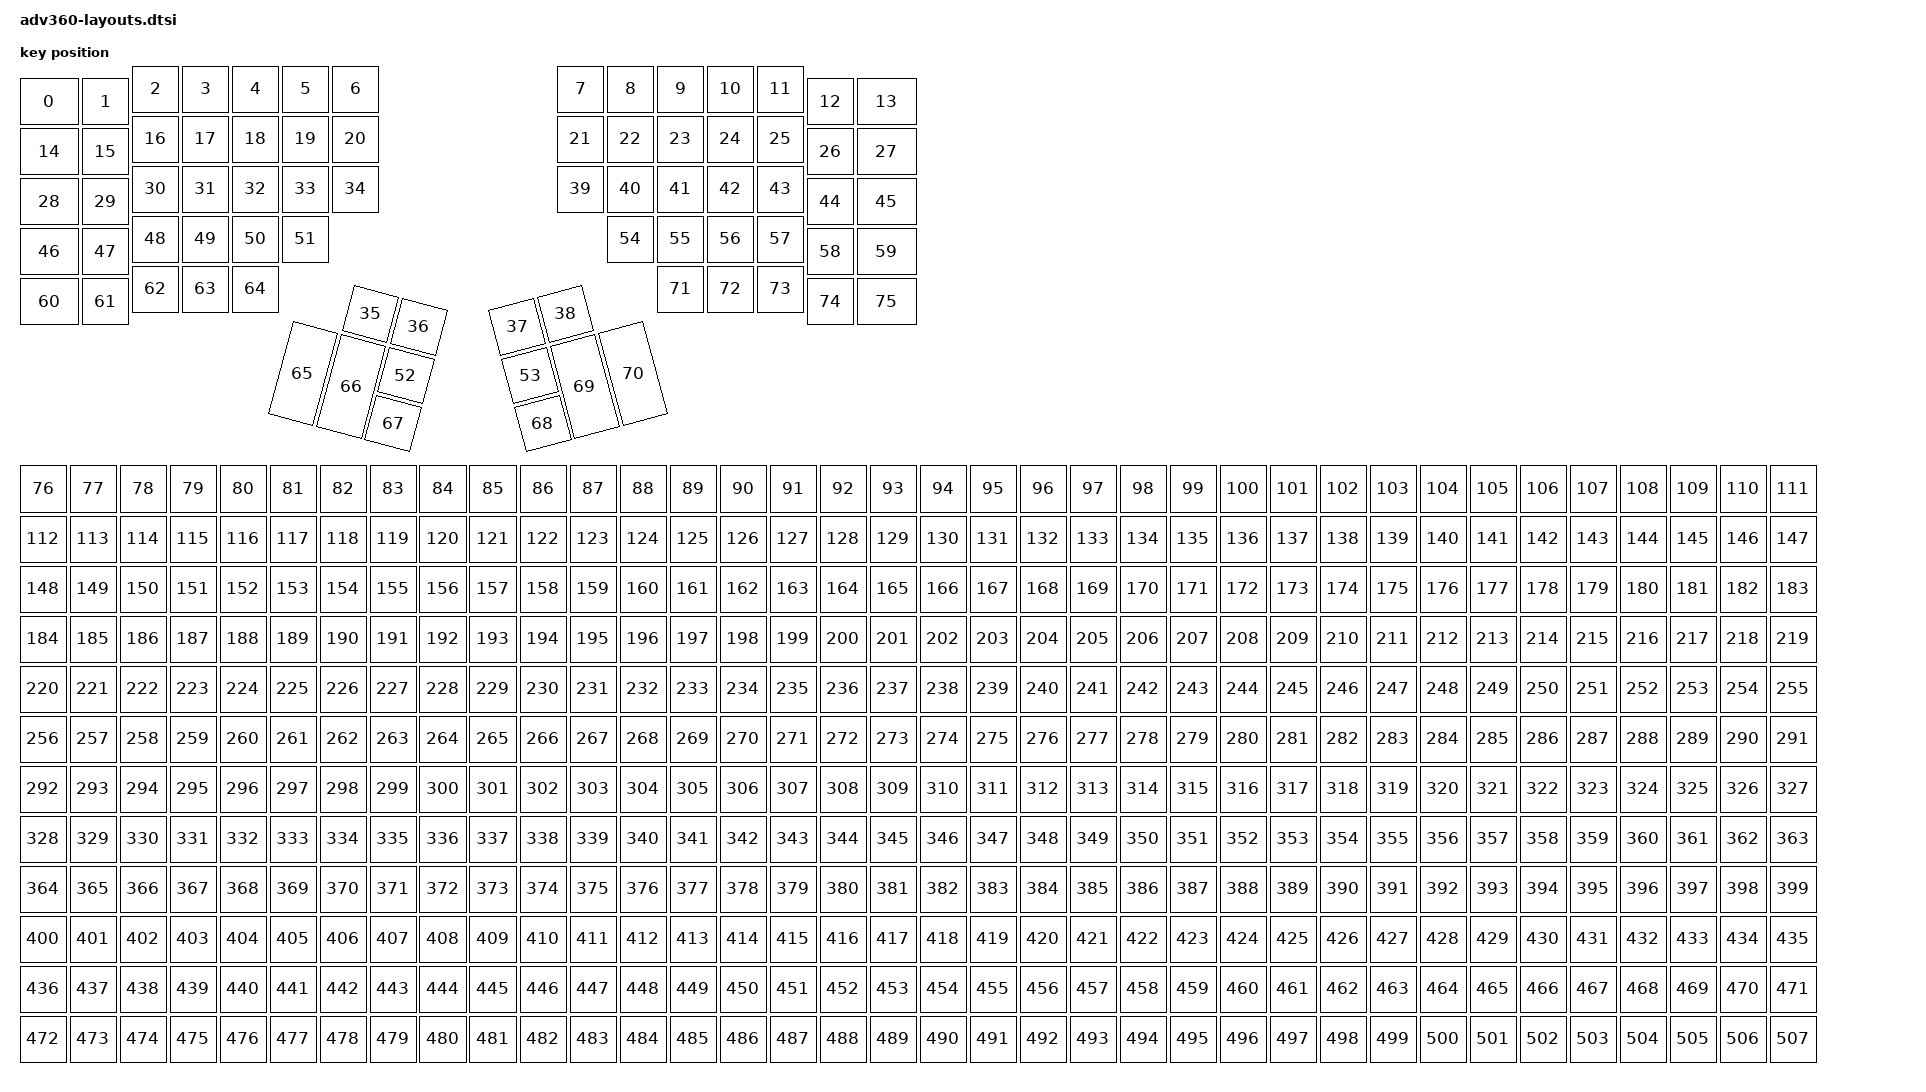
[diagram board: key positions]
#include <physical_layouts.dtsi>

/ {
    physical_layout0: physical_layout_0 {
        compatible = "zmk,physical-layout";
        display-name = "Default";

        keys  //                     w   h    x    y     rot    rx    ry
            = <&key_physical_attrs 125 100    0   25       0     0     0>
            , <&key_physical_attrs 100 100  125   25       0     0     0>
            , <&key_physical_attrs 100 100  225    0       0     0     0>
            , <&key_physical_attrs 100 100  325    0       0     0     0>
            , <&key_physical_attrs 100 100  425    0       0     0     0>
            , <&key_physical_attrs 100 100  525    0       0     0     0>
            , <&key_physical_attrs 100 100  625    0       0     0     0>
            , <&key_physical_attrs 100 100 1075    0       0     0     0>
            , <&key_physical_attrs 100 100 1175    0       0     0     0>
            , <&key_physical_attrs 100 100 1275    0       0     0     0>
            , <&key_physical_attrs 100 100 1375    0       0     0     0>
            , <&key_physical_attrs 100 100 1475    0       0     0     0>
            , <&key_physical_attrs 100 100 1575   25       0     0     0>
            , <&key_physical_attrs 125 100 1675   25       0     0     0>
            , <&key_physical_attrs 125 100    0  125       0     0     0>
            , <&key_physical_attrs 100 100  125  125       0     0     0>
            , <&key_physical_attrs 100 100  225  100       0     0     0>
            , <&key_physical_attrs 100 100  325  100       0     0     0>
            , <&key_physical_attrs 100 100  425  100       0     0     0>
            , <&key_physical_attrs 100 100  525  100       0     0     0>
            , <&key_physical_attrs 100 100  625  100       0     0     0>
            , <&key_physical_attrs 100 100 1075  100       0     0     0>
            , <&key_physical_attrs 100 100 1175  100       0     0     0>
            , <&key_physical_attrs 100 100 1275  100       0     0     0>
            , <&key_physical_attrs 100 100 1375  100       0     0     0>
            , <&key_physical_attrs 100 100 1475  100       0     0     0>
            , <&key_physical_attrs 100 100 1575  125       0     0     0>
            , <&key_physical_attrs 125 100 1675  125       0     0     0>
            , <&key_physical_attrs 125 100    0  225       0     0     0>
            , <&key_physical_attrs 100 100  125  225       0     0     0>
            , <&key_physical_attrs 100 100  225  200       0     0     0>
            , <&key_physical_attrs 100 100  325  200       0     0     0>
            , <&key_physical_attrs 100 100  425  200       0     0     0>
            , <&key_physical_attrs 100 100  525  200       0     0     0>
            , <&key_physical_attrs 100 100  625  200       0     0     0>
            , <&key_physical_attrs 100 100  675  400    1500   525   400>
            , <&key_physical_attrs 100 100  775  400    1500   525   400>
            , <&key_physical_attrs 100 100  925  400 (-1500)  1275   400>
            , <&key_physical_attrs 100 100 1025  400 (-1500)  1275   400>
            , <&key_physical_attrs 100 100 1075  200       0     0     0>
            , <&key_physical_attrs 100 100 1175  200       0     0     0>
            , <&key_physical_attrs 100 100 1275  200       0     0     0>
            , <&key_physical_attrs 100 100 1375  200       0     0     0>
            , <&key_physical_attrs 100 100 1475  200       0     0     0>
            , <&key_physical_attrs 100 100 1575  225       0     0     0>
            , <&key_physical_attrs 125 100 1675  225       0     0     0>
            , <&key_physical_attrs 125 100    0  325       0     0     0>
            , <&key_physical_attrs 100 100  125  325       0     0     0>
            , <&key_physical_attrs 100 100  225  300       0     0     0>
            , <&key_physical_attrs 100 100  325  300       0     0     0>
            , <&key_physical_attrs 100 100  425  300       0     0     0>
            , <&key_physical_attrs 100 100  525  300       0     0     0>
            , <&key_physical_attrs 100 100  775  500    1500   525   400>
            , <&key_physical_attrs 100 100  925  500 (-1500)  1275   400>
            , <&key_physical_attrs 100 100 1175  300       0     0     0>
            , <&key_physical_attrs 100 100 1275  300       0     0     0>
            , <&key_physical_attrs 100 100 1375  300       0     0     0>
            , <&key_physical_attrs 100 100 1475  300       0     0     0>
            , <&key_physical_attrs 100 100 1575  325       0     0     0>
            , <&key_physical_attrs 125 100 1675  325       0     0     0>
            , <&key_physical_attrs 125 100    0  425       0     0     0>
            , <&key_physical_attrs 100 100  125  425       0     0     0>
            , <&key_physical_attrs 100 100  225  400       0     0     0>
            , <&key_physical_attrs 100 100  325  400       0     0     0>
            , <&key_physical_attrs 100 100  425  400       0     0     0>
            , <&key_physical_attrs 100 200  575  500    1500   525   400>
            , <&key_physical_attrs 100 200  675  500    1500   525   400>
            , <&key_physical_attrs 100 100  775  600    1500   525   400>
            , <&key_physical_attrs 100 100  925  600 (-1500)  1275   400>
            , <&key_physical_attrs 100 200 1025  500 (-1500)  1275   400>
            , <&key_physical_attrs 100 200 1125  500 (-1500)  1275   400>
            , <&key_physical_attrs 100 100 1275  400       0     0     0>
            , <&key_physical_attrs 100 100 1375  400       0     0     0>
            , <&key_physical_attrs 100 100 1475  400       0     0     0>
            , <&key_physical_attrs 100 100 1575  425       0     0     0>
            , <&key_physical_attrs 125 100 1675  425       0     0     0>

, <&key_physical_attrs 100 100 0  800       0     0     0>
      , <&key_physical_attrs 100 100 100  800       0     0     0>
      , <&key_physical_attrs 100 100 200  800       0     0     0>
      , <&key_physical_attrs 100 100 300  800       0     0     0>
      , <&key_physical_attrs 100 100 400  800       0     0     0>
      , <&key_physical_attrs 100 100 500  800       0     0     0>
      , <&key_physical_attrs 100 100 600  800       0     0     0>
      , <&key_physical_attrs 100 100 700  800       0     0     0>
      , <&key_physical_attrs 100 100 800  800       0     0     0>
      , <&key_physical_attrs 100 100 900  800       0     0     0>
      , <&key_physical_attrs 100 100 1000  800       0     0     0>
      , <&key_physical_attrs 100 100 1100  800       0     0     0>
      , <&key_physical_attrs 100 100 1200  800       0     0     0>
      , <&key_physical_attrs 100 100 1300  800       0     0     0>
      , <&key_physical_attrs 100 100 1400  800       0     0     0>
      , <&key_physical_attrs 100 100 1500  800       0     0     0>
      , <&key_physical_attrs 100 100 1600  800       0     0     0>
      , <&key_physical_attrs 100 100 1700  800       0     0     0>
      , <&key_physical_attrs 100 100 1800  800       0     0     0>
      , <&key_physical_attrs 100 100 1900  800       0     0     0>
      , <&key_physical_attrs 100 100 2000  800       0     0     0>
      , <&key_physical_attrs 100 100 2100  800       0     0     0>
      , <&key_physical_attrs 100 100 2200  800       0     0     0>
      , <&key_physical_attrs 100 100 2300  800       0     0     0>
      , <&key_physical_attrs 100 100 2400  800       0     0     0>
      , <&key_physical_attrs 100 100 2500  800       0     0     0>
      , <&key_physical_attrs 100 100 2600  800       0     0     0>
      , <&key_physical_attrs 100 100 2700  800       0     0     0>
      , <&key_physical_attrs 100 100 2800  800       0     0     0>
      , <&key_physical_attrs 100 100 2900  800       0     0     0>
      , <&key_physical_attrs 100 100 3000  800       0     0     0>
      , <&key_physical_attrs 100 100 3100  800       0     0     0>
      , <&key_physical_attrs 100 100 3200  800       0     0     0>
      , <&key_physical_attrs 100 100 3300  800       0     0     0>
      , <&key_physical_attrs 100 100 3400  800       0     0     0>
      , <&key_physical_attrs 100 100 3500  800       0     0     0>
      , <&key_physical_attrs 100 100 0  900       0     0     0>
      , <&key_physical_attrs 100 100 100  900       0     0     0>
      , <&key_physical_attrs 100 100 200  900       0     0     0>
      , <&key_physical_attrs 100 100 300  900       0     0     0>
      , <&key_physical_attrs 100 100 400  900       0     0     0>
      , <&key_physical_attrs 100 100 500  900       0     0     0>
      , <&key_physical_attrs 100 100 600  900       0     0     0>
      , <&key_physical_attrs 100 100 700  900       0     0     0>
      , <&key_physical_attrs 100 100 800  900       0     0     0>
      , <&key_physical_attrs 100 100 900  900       0     0     0>
      , <&key_physical_attrs 100 100 1000  900       0     0     0>
      , <&key_physical_attrs 100 100 1100  900       0     0     0>
      , <&key_physical_attrs 100 100 1200  900       0     0     0>
      , <&key_physical_attrs 100 100 1300  900       0     0     0>
      , <&key_physical_attrs 100 100 1400  900       0     0     0>
      , <&key_physical_attrs 100 100 1500  900       0     0     0>
      , <&key_physical_attrs 100 100 1600  900       0     0     0>
      , <&key_physical_attrs 100 100 1700  900       0     0     0>
      , <&key_physical_attrs 100 100 1800  900       0     0     0>
      , <&key_physical_attrs 100 100 1900  900       0     0     0>
      , <&key_physical_attrs 100 100 2000  900       0     0     0>
      , <&key_physical_attrs 100 100 2100  900       0     0     0>
      , <&key_physical_attrs 100 100 2200  900       0     0     0>
      , <&key_physical_attrs 100 100 2300  900       0     0     0>
      , <&key_physical_attrs 100 100 2400  900       0     0     0>
      , <&key_physical_attrs 100 100 2500  900       0     0     0>
      , <&key_physical_attrs 100 100 2600  900       0     0     0>
      , <&key_physical_attrs 100 100 2700  900       0     0     0>
      , <&key_physical_attrs 100 100 2800  900       0     0     0>
      , <&key_physical_attrs 100 100 2900  900       0     0     0>
      , <&key_physical_attrs 100 100 3000  900       0     0     0>
      , <&key_physical_attrs 100 100 3100  900       0     0     0>
      , <&key_physical_attrs 100 100 3200  900       0     0     0>
      , <&key_physical_attrs 100 100 3300  900       0     0     0>
      , <&key_physical_attrs 100 100 3400  900       0     0     0>
      , <&key_physical_attrs 100 100 3500  900       0     0     0>
      , <&key_physical_attrs 100 100 0  1000       0     0     0>
      , <&key_physical_attrs 100 100 100  1000       0     0     0>
      , <&key_physical_attrs 100 100 200  1000       0     0     0>
      , <&key_physical_attrs 100 100 300  1000       0     0     0>
      , <&key_physical_attrs 100 100 400  1000       0     0     0>
      , <&key_physical_attrs 100 100 500  1000       0     0     0>
      , <&key_physical_attrs 100 100 600  1000       0     0     0>
      , <&key_physical_attrs 100 100 700  1000       0     0     0>
      , <&key_physical_attrs 100 100 800  1000       0     0     0>
      , <&key_physical_attrs 100 100 900  1000       0     0     0>
      , <&key_physical_attrs 100 100 1000  1000       0     0     0>
      , <&key_physical_attrs 100 100 1100  1000       0     0     0>
      , <&key_physical_attrs 100 100 1200  1000       0     0     0>
      , <&key_physical_attrs 100 100 1300  1000       0     0     0>
      , <&key_physical_attrs 100 100 1400  1000       0     0     0>
      , <&key_physical_attrs 100 100 1500  1000       0     0     0>
      , <&key_physical_attrs 100 100 1600  1000       0     0     0>
      , <&key_physical_attrs 100 100 1700  1000       0     0     0>
      , <&key_physical_attrs 100 100 1800  1000       0     0     0>
      , <&key_physical_attrs 100 100 1900  1000       0     0     0>
      , <&key_physical_attrs 100 100 2000  1000       0     0     0>
      , <&key_physical_attrs 100 100 2100  1000       0     0     0>
      , <&key_physical_attrs 100 100 2200  1000       0     0     0>
      , <&key_physical_attrs 100 100 2300  1000       0     0     0>
      , <&key_physical_attrs 100 100 2400  1000       0     0     0>
      , <&key_physical_attrs 100 100 2500  1000       0     0     0>
      , <&key_physical_attrs 100 100 2600  1000       0     0     0>
      , <&key_physical_attrs 100 100 2700  1000       0     0     0>
      , <&key_physical_attrs 100 100 2800  1000       0     0     0>
      , <&key_physical_attrs 100 100 2900  1000       0     0     0>
      , <&key_physical_attrs 100 100 3000  1000       0     0     0>
      , <&key_physical_attrs 100 100 3100  1000       0     0     0>
      , <&key_physical_attrs 100 100 3200  1000       0     0     0>
      , <&key_physical_attrs 100 100 3300  1000       0     0     0>
      , <&key_physical_attrs 100 100 3400  1000       0     0     0>
      , <&key_physical_attrs 100 100 3500  1000       0     0     0>
      , <&key_physical_attrs 100 100 0  1100       0     0     0>
      , <&key_physical_attrs 100 100 100  1100       0     0     0>
      , <&key_physical_attrs 100 100 200  1100       0     0     0>
      , <&key_physical_attrs 100 100 300  1100       0     0     0>
      , <&key_physical_attrs 100 100 400  1100       0     0     0>
      , <&key_physical_attrs 100 100 500  1100       0     0     0>
      , <&key_physical_attrs 100 100 600  1100       0     0     0>
      , <&key_physical_attrs 100 100 700  1100       0     0     0>
      , <&key_physical_attrs 100 100 800  1100       0     0     0>
      , <&key_physical_attrs 100 100 900  1100       0     0     0>
      , <&key_physical_attrs 100 100 1000  1100       0     0     0>
      , <&key_physical_attrs 100 100 1100  1100       0     0     0>
      , <&key_physical_attrs 100 100 1200  1100       0     0     0>
      , <&key_physical_attrs 100 100 1300  1100       0     0     0>
      , <&key_physical_attrs 100 100 1400  1100       0     0     0>
      , <&key_physical_attrs 100 100 1500  1100       0     0     0>
      , <&key_physical_attrs 100 100 1600  1100       0     0     0>
      , <&key_physical_attrs 100 100 1700  1100       0     0     0>
      , <&key_physical_attrs 100 100 1800  1100       0     0     0>
      , <&key_physical_attrs 100 100 1900  1100       0     0     0>
      , <&key_physical_attrs 100 100 2000  1100       0     0     0>
      , <&key_physical_attrs 100 100 2100  1100       0     0     0>
      , <&key_physical_attrs 100 100 2200  1100       0     0     0>
      , <&key_physical_attrs 100 100 2300  1100       0     0     0>
      , <&key_physical_attrs 100 100 2400  1100       0     0     0>
      , <&key_physical_attrs 100 100 2500  1100       0     0     0>
      , <&key_physical_attrs 100 100 2600  1100       0     0     0>
      , <&key_physical_attrs 100 100 2700  1100       0     0     0>
      , <&key_physical_attrs 100 100 2800  1100       0     0     0>
      , <&key_physical_attrs 100 100 2900  1100       0     0     0>
      , <&key_physical_attrs 100 100 3000  1100       0     0     0>
      , <&key_physical_attrs 100 100 3100  1100       0     0     0>
      , <&key_physical_attrs 100 100 3200  1100       0     0     0>
      , <&key_physical_attrs 100 100 3300  1100       0     0     0>
      , <&key_physical_attrs 100 100 3400  1100       0     0     0>
      , <&key_physical_attrs 100 100 3500  1100       0     0     0>
      , <&key_physical_attrs 100 100 0  1200       0     0     0>
      , <&key_physical_attrs 100 100 100  1200       0     0     0>
      , <&key_physical_attrs 100 100 200  1200       0     0     0>
      , <&key_physical_attrs 100 100 300  1200       0     0     0>
      , <&key_physical_attrs 100 100 400  1200       0     0     0>
      , <&key_physical_attrs 100 100 500  1200       0     0     0>
      , <&key_physical_attrs 100 100 600  1200       0     0     0>
      , <&key_physical_attrs 100 100 700  1200       0     0     0>
      , <&key_physical_attrs 100 100 800  1200       0     0     0>
      , <&key_physical_attrs 100 100 900  1200       0     0     0>
      , <&key_physical_attrs 100 100 1000  1200       0     0     0>
      , <&key_physical_attrs 100 100 1100  1200       0     0     0>
      , <&key_physical_attrs 100 100 1200  1200       0     0     0>
      , <&key_physical_attrs 100 100 1300  1200       0     0     0>
      , <&key_physical_attrs 100 100 1400  1200       0     0     0>
      , <&key_physical_attrs 100 100 1500  1200       0     0     0>
      , <&key_physical_attrs 100 100 1600  1200       0     0     0>
      , <&key_physical_attrs 100 100 1700  1200       0     0     0>
      , <&key_physical_attrs 100 100 1800  1200       0     0     0>
      , <&key_physical_attrs 100 100 1900  1200       0     0     0>
      , <&key_physical_attrs 100 100 2000  1200       0     0     0>
      , <&key_physical_attrs 100 100 2100  1200       0     0     0>
      , <&key_physical_attrs 100 100 2200  1200       0     0     0>
      , <&key_physical_attrs 100 100 2300  1200       0     0     0>
      , <&key_physical_attrs 100 100 2400  1200       0     0     0>
      , <&key_physical_attrs 100 100 2500  1200       0     0     0>
      , <&key_physical_attrs 100 100 2600  1200       0     0     0>
      , <&key_physical_attrs 100 100 2700  1200       0     0     0>
      , <&key_physical_attrs 100 100 2800  1200       0     0     0>
      , <&key_physical_attrs 100 100 2900  1200       0     0     0>
      , <&key_physical_attrs 100 100 3000  1200       0     0     0>
      , <&key_physical_attrs 100 100 3100  1200       0     0     0>
      , <&key_physical_attrs 100 100 3200  1200       0     0     0>
      , <&key_physical_attrs 100 100 3300  1200       0     0     0>
      , <&key_physical_attrs 100 100 3400  1200       0     0     0>
      , <&key_physical_attrs 100 100 3500  1200       0     0     0>
      , <&key_physical_attrs 100 100 0  1300       0     0     0>
      , <&key_physical_attrs 100 100 100  1300       0     0     0>
      , <&key_physical_attrs 100 100 200  1300       0     0     0>
      , <&key_physical_attrs 100 100 300  1300       0     0     0>
      , <&key_physical_attrs 100 100 400  1300       0     0     0>
      , <&key_physical_attrs 100 100 500  1300       0     0     0>
      , <&key_physical_attrs 100 100 600  1300       0     0     0>
      , <&key_physical_attrs 100 100 700  1300       0     0     0>
      , <&key_physical_attrs 100 100 800  1300       0     0     0>
      , <&key_physical_attrs 100 100 900  1300       0     0     0>
      , <&key_physical_attrs 100 100 1000  1300       0     0     0>
      , <&key_physical_attrs 100 100 1100  1300       0     0     0>
      , <&key_physical_attrs 100 100 1200  1300       0     0     0>
      , <&key_physical_attrs 100 100 1300  1300       0     0     0>
      , <&key_physical_attrs 100 100 1400  1300       0     0     0>
      , <&key_physical_attrs 100 100 1500  1300       0     0     0>
      , <&key_physical_attrs 100 100 1600  1300       0     0     0>
      , <&key_physical_attrs 100 100 1700  1300       0     0     0>
      , <&key_physical_attrs 100 100 1800  1300       0     0     0>
      , <&key_physical_attrs 100 100 1900  1300       0     0     0>
      , <&key_physical_attrs 100 100 2000  1300       0     0     0>
      , <&key_physical_attrs 100 100 2100  1300       0     0     0>
      , <&key_physical_attrs 100 100 2200  1300       0     0     0>
      , <&key_physical_attrs 100 100 2300  1300       0     0     0>
      , <&key_physical_attrs 100 100 2400  1300       0     0     0>
      , <&key_physical_attrs 100 100 2500  1300       0     0     0>
      , <&key_physical_attrs 100 100 2600  1300       0     0     0>
      , <&key_physical_attrs 100 100 2700  1300       0     0     0>
      , <&key_physical_attrs 100 100 2800  1300       0     0     0>
      , <&key_physical_attrs 100 100 2900  1300       0     0     0>
      , <&key_physical_attrs 100 100 3000  1300       0     0     0>
      , <&key_physical_attrs 100 100 3100  1300       0     0     0>
      , <&key_physical_attrs 100 100 3200  1300       0     0     0>
      , <&key_physical_attrs 100 100 3300  1300       0     0     0>
      , <&key_physical_attrs 100 100 3400  1300       0     0     0>
      , <&key_physical_attrs 100 100 3500  1300       0     0     0>
      , <&key_physical_attrs 100 100 0  1400       0     0     0>
      , <&key_physical_attrs 100 100 100  1400       0     0     0>
      , <&key_physical_attrs 100 100 200  1400       0     0     0>
      , <&key_physical_attrs 100 100 300  1400       0     0     0>
      , <&key_physical_attrs 100 100 400  1400       0     0     0>
      , <&key_physical_attrs 100 100 500  1400       0     0     0>
      , <&key_physical_attrs 100 100 600  1400       0     0     0>
      , <&key_physical_attrs 100 100 700  1400       0     0     0>
      , <&key_physical_attrs 100 100 800  1400       0     0     0>
      , <&key_physical_attrs 100 100 900  1400       0     0     0>
      , <&key_physical_attrs 100 100 1000  1400       0     0     0>
      , <&key_physical_attrs 100 100 1100  1400       0     0     0>
      , <&key_physical_attrs 100 100 1200  1400       0     0     0>
      , <&key_physical_attrs 100 100 1300  1400       0     0     0>
      , <&key_physical_attrs 100 100 1400  1400       0     0     0>
      , <&key_physical_attrs 100 100 1500  1400       0     0     0>
      , <&key_physical_attrs 100 100 1600  1400       0     0     0>
      , <&key_physical_attrs 100 100 1700  1400       0     0     0>
      , <&key_physical_attrs 100 100 1800  1400       0     0     0>
      , <&key_physical_attrs 100 100 1900  1400       0     0     0>
      , <&key_physical_attrs 100 100 2000  1400       0     0     0>
      , <&key_physical_attrs 100 100 2100  1400       0     0     0>
      , <&key_physical_attrs 100 100 2200  1400       0     0     0>
      , <&key_physical_attrs 100 100 2300  1400       0     0     0>
      , <&key_physical_attrs 100 100 2400  1400       0     0     0>
      , <&key_physical_attrs 100 100 2500  1400       0     0     0>
      , <&key_physical_attrs 100 100 2600  1400       0     0     0>
      , <&key_physical_attrs 100 100 2700  1400       0     0     0>
      , <&key_physical_attrs 100 100 2800  1400       0     0     0>
      , <&key_physical_attrs 100 100 2900  1400       0     0     0>
      , <&key_physical_attrs 100 100 3000  1400       0     0     0>
      , <&key_physical_attrs 100 100 3100  1400       0     0     0>
      , <&key_physical_attrs 100 100 3200  1400       0     0     0>
      , <&key_physical_attrs 100 100 3300  1400       0     0     0>
      , <&key_physical_attrs 100 100 3400  1400       0     0     0>
      , <&key_physical_attrs 100 100 3500  1400       0     0     0>
      , <&key_physical_attrs 100 100 0  1500       0     0     0>
      , <&key_physical_attrs 100 100 100  1500       0     0     0>
      , <&key_physical_attrs 100 100 200  1500       0     0     0>
      , <&key_physical_attrs 100 100 300  1500       0     0     0>
      , <&key_physical_attrs 100 100 400  1500       0     0     0>
      , <&key_physical_attrs 100 100 500  1500       0     0     0>
      , <&key_physical_attrs 100 100 600  1500       0     0     0>
      , <&key_physical_attrs 100 100 700  1500       0     0     0>
      , <&key_physical_attrs 100 100 800  1500       0     0     0>
      , <&key_physical_attrs 100 100 900  1500       0     0     0>
      , <&key_physical_attrs 100 100 1000  1500       0     0     0>
      , <&key_physical_attrs 100 100 1100  1500       0     0     0>
      , <&key_physical_attrs 100 100 1200  1500       0     0     0>
      , <&key_physical_attrs 100 100 1300  1500       0     0     0>
      , <&key_physical_attrs 100 100 1400  1500       0     0     0>
      , <&key_physical_attrs 100 100 1500  1500       0     0     0>
      , <&key_physical_attrs 100 100 1600  1500       0     0     0>
      , <&key_physical_attrs 100 100 1700  1500       0     0     0>
      , <&key_physical_attrs 100 100 1800  1500       0     0     0>
      , <&key_physical_attrs 100 100 1900  1500       0     0     0>
      , <&key_physical_attrs 100 100 2000  1500       0     0     0>
      , <&key_physical_attrs 100 100 2100  1500       0     0     0>
      , <&key_physical_attrs 100 100 2200  1500       0     0     0>
      , <&key_physical_attrs 100 100 2300  1500       0     0     0>
      , <&key_physical_attrs 100 100 2400  1500       0     0     0>
      , <&key_physical_attrs 100 100 2500  1500       0     0     0>
      , <&key_physical_attrs 100 100 2600  1500       0     0     0>
      , <&key_physical_attrs 100 100 2700  1500       0     0     0>
      , <&key_physical_attrs 100 100 2800  1500       0     0     0>
      , <&key_physical_attrs 100 100 2900  1500       0     0     0>
      , <&key_physical_attrs 100 100 3000  1500       0     0     0>
      , <&key_physical_attrs 100 100 3100  1500       0     0     0>
      , <&key_physical_attrs 100 100 3200  1500       0     0     0>
      , <&key_physical_attrs 100 100 3300  1500       0     0     0>
      , <&key_physical_attrs 100 100 3400  1500       0     0     0>
      , <&key_physical_attrs 100 100 3500  1500       0     0     0>
      , <&key_physical_attrs 100 100 0  1600       0     0     0>
      , <&key_physical_attrs 100 100 100  1600       0     0     0>
      , <&key_physical_attrs 100 100 200  1600       0     0     0>
      , <&key_physical_attrs 100 100 300  1600       0     0     0>
      , <&key_physical_attrs 100 100 400  1600       0     0     0>
      , <&key_physical_attrs 100 100 500  1600       0     0     0>
      , <&key_physical_attrs 100 100 600  1600       0     0     0>
      , <&key_physical_attrs 100 100 700  1600       0     0     0>
      , <&key_physical_attrs 100 100 800  1600       0     0     0>
      , <&key_physical_attrs 100 100 900  1600       0     0     0>
      , <&key_physical_attrs 100 100 1000  1600       0     0     0>
      , <&key_physical_attrs 100 100 1100  1600       0     0     0>
      , <&key_physical_attrs 100 100 1200  1600       0     0     0>
      , <&key_physical_attrs 100 100 1300  1600       0     0     0>
      , <&key_physical_attrs 100 100 1400  1600       0     0     0>
      , <&key_physical_attrs 100 100 1500  1600       0     0     0>
      , <&key_physical_attrs 100 100 1600  1600       0     0     0>
      , <&key_physical_attrs 100 100 1700  1600       0     0     0>
      , <&key_physical_attrs 100 100 1800  1600       0     0     0>
      , <&key_physical_attrs 100 100 1900  1600       0     0     0>
      , <&key_physical_attrs 100 100 2000  1600       0     0     0>
      , <&key_physical_attrs 100 100 2100  1600       0     0     0>
      , <&key_physical_attrs 100 100 2200  1600       0     0     0>
      , <&key_physical_attrs 100 100 2300  1600       0     0     0>
      , <&key_physical_attrs 100 100 2400  1600       0     0     0>
      , <&key_physical_attrs 100 100 2500  1600       0     0     0>
      , <&key_physical_attrs 100 100 2600  1600       0     0     0>
      , <&key_physical_attrs 100 100 2700  1600       0     0     0>
      , <&key_physical_attrs 100 100 2800  1600       0     0     0>
      , <&key_physical_attrs 100 100 2900  1600       0     0     0>
      , <&key_physical_attrs 100 100 3000  1600       0     0     0>
      , <&key_physical_attrs 100 100 3100  1600       0     0     0>
      , <&key_physical_attrs 100 100 3200  1600       0     0     0>
      , <&key_physical_attrs 100 100 3300  1600       0     0     0>
      , <&key_physical_attrs 100 100 3400  1600       0     0     0>
      , <&key_physical_attrs 100 100 3500  1600       0     0     0>
      , <&key_physical_attrs 100 100 0  1700       0     0     0>
      , <&key_physical_attrs 100 100 100  1700       0     0     0>
      , <&key_physical_attrs 100 100 200  1700       0     0     0>
      , <&key_physical_attrs 100 100 300  1700       0     0     0>
      , <&key_physical_attrs 100 100 400  1700       0     0     0>
      , <&key_physical_attrs 100 100 500  1700       0     0     0>
      , <&key_physical_attrs 100 100 600  1700       0     0     0>
      , <&key_physical_attrs 100 100 700  1700       0     0     0>
      , <&key_physical_attrs 100 100 800  1700       0     0     0>
      , <&key_physical_attrs 100 100 900  1700       0     0     0>
      , <&key_physical_attrs 100 100 1000  1700       0     0     0>
      , <&key_physical_attrs 100 100 1100  1700       0     0     0>
      , <&key_physical_attrs 100 100 1200  1700       0     0     0>
      , <&key_physical_attrs 100 100 1300  1700       0     0     0>
      , <&key_physical_attrs 100 100 1400  1700       0     0     0>
      , <&key_physical_attrs 100 100 1500  1700       0     0     0>
      , <&key_physical_attrs 100 100 1600  1700       0     0     0>
      , <&key_physical_attrs 100 100 1700  1700       0     0     0>
      , <&key_physical_attrs 100 100 1800  1700       0     0     0>
      , <&key_physical_attrs 100 100 1900  1700       0     0     0>
      , <&key_physical_attrs 100 100 2000  1700       0     0     0>
      , <&key_physical_attrs 100 100 2100  1700       0     0     0>
      , <&key_physical_attrs 100 100 2200  1700       0     0     0>
      , <&key_physical_attrs 100 100 2300  1700       0     0     0>
      , <&key_physical_attrs 100 100 2400  1700       0     0     0>
      , <&key_physical_attrs 100 100 2500  1700       0     0     0>
      , <&key_physical_attrs 100 100 2600  1700       0     0     0>
      , <&key_physical_attrs 100 100 2700  1700       0     0     0>
      , <&key_physical_attrs 100 100 2800  1700       0     0     0>
      , <&key_physical_attrs 100 100 2900  1700       0     0     0>
      , <&key_physical_attrs 100 100 3000  1700       0     0     0>
      , <&key_physical_attrs 100 100 3100  1700       0     0     0>
      , <&key_physical_attrs 100 100 3200  1700       0     0     0>
      , <&key_physical_attrs 100 100 3300  1700       0     0     0>
      , <&key_physical_attrs 100 100 3400  1700       0     0     0>
      , <&key_physical_attrs 100 100 3500  1700       0     0     0>
      , <&key_physical_attrs 100 100 0  1800       0     0     0>
      , <&key_physical_attrs 100 100 100  1800       0     0     0>
      , <&key_physical_attrs 100 100 200  1800       0     0     0>
      , <&key_physical_attrs 100 100 300  1800       0     0     0>
      , <&key_physical_attrs 100 100 400  1800       0     0     0>
      , <&key_physical_attrs 100 100 500  1800       0     0     0>
      , <&key_physical_attrs 100 100 600  1800       0     0     0>
      , <&key_physical_attrs 100 100 700  1800       0     0     0>
      , <&key_physical_attrs 100 100 800  1800       0     0     0>
      , <&key_physical_attrs 100 100 900  1800       0     0     0>
      , <&key_physical_attrs 100 100 1000  1800       0     0     0>
      , <&key_physical_attrs 100 100 1100  1800       0     0     0>
      , <&key_physical_attrs 100 100 1200  1800       0     0     0>
      , <&key_physical_attrs 100 100 1300  1800       0     0     0>
      , <&key_physical_attrs 100 100 1400  1800       0     0     0>
      , <&key_physical_attrs 100 100 1500  1800       0     0     0>
      , <&key_physical_attrs 100 100 1600  1800       0     0     0>
      , <&key_physical_attrs 100 100 1700  1800       0     0     0>
      , <&key_physical_attrs 100 100 1800  1800       0     0     0>
      , <&key_physical_attrs 100 100 1900  1800       0     0     0>
      , <&key_physical_attrs 100 100 2000  1800       0     0     0>
      , <&key_physical_attrs 100 100 2100  1800       0     0     0>
      , <&key_physical_attrs 100 100 2200  1800       0     0     0>
      , <&key_physical_attrs 100 100 2300  1800       0     0     0>
      , <&key_physical_attrs 100 100 2400  1800       0     0     0>
      , <&key_physical_attrs 100 100 2500  1800       0     0     0>
      , <&key_physical_attrs 100 100 2600  1800       0     0     0>
      , <&key_physical_attrs 100 100 2700  1800       0     0     0>
      , <&key_physical_attrs 100 100 2800  1800       0     0     0>
      , <&key_physical_attrs 100 100 2900  1800       0     0     0>
      , <&key_physical_attrs 100 100 3000  1800       0     0     0>
      , <&key_physical_attrs 100 100 3100  1800       0     0     0>
      , <&key_physical_attrs 100 100 3200  1800       0     0     0>
      , <&key_physical_attrs 100 100 3300  1800       0     0     0>
      , <&key_physical_attrs 100 100 3400  1800       0     0     0>
      , <&key_physical_attrs 100 100 3500  1800       0     0     0>
      , <&key_physical_attrs 100 100 0  1900       0     0     0>
      , <&key_physical_attrs 100 100 100  1900       0     0     0>
      , <&key_physical_attrs 100 100 200  1900       0     0     0>
      , <&key_physical_attrs 100 100 300  1900       0     0     0>
      , <&key_physical_attrs 100 100 400  1900       0     0     0>
      , <&key_physical_attrs 100 100 500  1900       0     0     0>
      , <&key_physical_attrs 100 100 600  1900       0     0     0>
      , <&key_physical_attrs 100 100 700  1900       0     0     0>
      , <&key_physical_attrs 100 100 800  1900       0     0     0>
      , <&key_physical_attrs 100 100 900  1900       0     0     0>
      , <&key_physical_attrs 100 100 1000  1900       0     0     0>
      , <&key_physical_attrs 100 100 1100  1900       0     0     0>
      , <&key_physical_attrs 100 100 1200  1900       0     0     0>
      , <&key_physical_attrs 100 100 1300  1900       0     0     0>
      , <&key_physical_attrs 100 100 1400  1900       0     0     0>
      , <&key_physical_attrs 100 100 1500  1900       0     0     0>
      , <&key_physical_attrs 100 100 1600  1900       0     0     0>
      , <&key_physical_attrs 100 100 1700  1900       0     0     0>
      , <&key_physical_attrs 100 100 1800  1900       0     0     0>
      , <&key_physical_attrs 100 100 1900  1900       0     0     0>
      , <&key_physical_attrs 100 100 2000  1900       0     0     0>
      , <&key_physical_attrs 100 100 2100  1900       0     0     0>
      , <&key_physical_attrs 100 100 2200  1900       0     0     0>
      , <&key_physical_attrs 100 100 2300  1900       0     0     0>
      , <&key_physical_attrs 100 100 2400  1900       0     0     0>
      , <&key_physical_attrs 100 100 2500  1900       0     0     0>
      , <&key_physical_attrs 100 100 2600  1900       0     0     0>
      , <&key_physical_attrs 100 100 2700  1900       0     0     0>
      , <&key_physical_attrs 100 100 2800  1900       0     0     0>
      , <&key_physical_attrs 100 100 2900  1900       0     0     0>
      , <&key_physical_attrs 100 100 3000  1900       0     0     0>
      , <&key_physical_attrs 100 100 3100  1900       0     0     0>
      , <&key_physical_attrs 100 100 3200  1900       0     0     0>
      , <&key_physical_attrs 100 100 3300  1900       0     0     0>
      , <&key_physical_attrs 100 100 3400  1900       0     0     0>
      , <&key_physical_attrs 100 100 3500  1900       0     0     0>


            ;
    };
};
